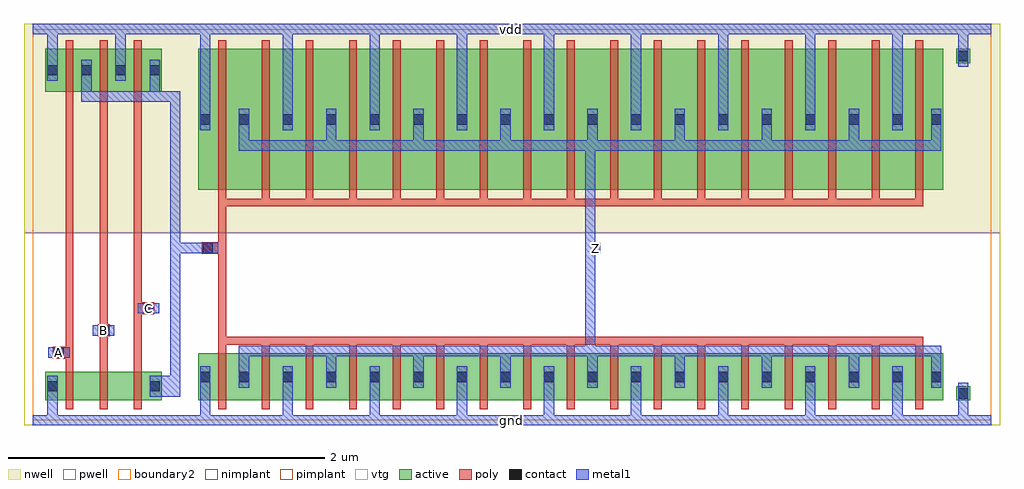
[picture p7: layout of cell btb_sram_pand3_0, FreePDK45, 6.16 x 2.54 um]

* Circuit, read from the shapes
.subckt btb_sram_pand3_0 A B C Z gnd vdd
M1 btb_sram_pnand3_0_0/btb_sram_nmos_m1_w0_180_sm1_dactive_3/D A gnd gnd nfet w=0.18u l=0.05u
M2 btb_sram_pnand3_0_0/btb_sram_nmos_m1_w0_180_sactive_dactive_4/D B btb_sram_pnand3_0_0/btb_sram_nmos_m1_w0_180_sm1_dactive_3/D gnd nfet w=0.18u l=0.05u
M3 btb_sram_pdriver_3_1/A C btb_sram_pnand3_0_0/btb_sram_nmos_m1_w0_180_sactive_dactive_4/D gnd nfet w=0.18u l=0.05u
M4 Z btb_sram_pdriver_3_1/A gnd gnd nfet w=0.2975u l=0.05u m=17
M5 btb_sram_pdriver_3_1/A A vdd vdd pfet w=0.27u l=0.05u
M6 vdd B btb_sram_pdriver_3_1/A vdd pfet w=0.27u l=0.05u
M7 btb_sram_pdriver_3_1/A C vdd vdd pfet w=0.27u l=0.05u
M8 Z btb_sram_pdriver_3_1/A vdd vdd pfet w=0.89u l=0.05u m=17
.ends

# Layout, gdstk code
import gdstk
lib = gdstk.Library(unit=1e-6, precision=5e-10)
def R(c, l, rs):  # rectangles x0, y0, x1, y1
    for r in rs: c.add(gdstk.rectangle(r[:2], r[2:], *l))
def A(c, l, x, y, w, h, nx, ny, dx, dy):  # array of equal rectangles
    R(c, l, [(x+i*dx, y+j*dy, x+i*dx+w, y+j*dy+h) for i in range(nx) for j in range(ny)])
active = (1, 0)
pwell = (2, 0)
nwell = (3, 0)
nimplant = (4, 0)
pimplant = (5, 0)
vtg = (6, 0)
poly = (9, 0)
contact = (10, 0)
metal1 = (11, 0)
boundary2 = (239, 0)

btb_sram_contact_11 = lib.new_cell('btb_sram_contact_11')
R(btb_sram_contact_11, active, [(0,0.0225,0.09,0.1125)])
R(btb_sram_contact_11, nwell, [(-0.055,-0.0325,0.145,0.1675)])
R(btb_sram_contact_11, pimplant, [(0,0.0225,0.09,0.1125)])
R(btb_sram_contact_11, contact, [(0.0125,0.035,0.0775,0.1)])
R(btb_sram_contact_11, metal1, [(0.0125,0,0.0775,0.135)])
R(btb_sram_contact_11, boundary2, [(-0.055,-0.0325,0.145,0.1675)])

btb_sram_pmos_m1_w0_270_ = lib.new_cell('btb_sram_pmos_m1_w0_270_sm1_dm1')
R(btb_sram_pmos_m1_w0_270_, active, [(0,0,0.305,0.27)])
R(btb_sram_pmos_m1_w0_270_, nwell, [(-0.08,-0.08,0.385,0.35)])
R(btb_sram_pmos_m1_w0_270_, pimplant, [(0,0,0.305,0.27)])
R(btb_sram_pmos_m1_w0_270_, vtg, [(-0.08,-0.08,0.385,0.35)])
R(btb_sram_pmos_m1_w0_270_, poly, [(0.1275,-0.055,0.1775,0.325), (0.1275,-0.055,0.1775,0.325)])
R(btb_sram_pmos_m1_w0_270_, metal1, [(0.0125,0.0675,0.0775,0.2025), (0.2275,0.0675,0.2925,0.2025)])
R(btb_sram_pmos_m1_w0_270_, boundary2, [(-0.08,-0.08,0.385,0.35)])
btb_sram_pmos_m1_w0_270_.add(gdstk.Reference(btb_sram_contact_11, (0,0.0675)))
btb_sram_pmos_m1_w0_270_.add(gdstk.Reference(btb_sram_contact_11, (0.215,0.0675)))
btb_sram_pmos_m1_w0_270_.add(gdstk.Label('G', (0.1525,0.135), layer=9, texttype=0))
btb_sram_pmos_m1_w0_270_.add(gdstk.Label('S', (0.045,0.135), layer=11, texttype=0))
btb_sram_pmos_m1_w0_270_.add(gdstk.Label('D', (0.26,0.135), layer=11, texttype=0))

btb_sram_contact_10 = lib.new_cell('btb_sram_contact_10')
R(btb_sram_contact_10, active, [(0,0.0225,0.09,0.1125)])
R(btb_sram_contact_10, pwell, [(-0.055,-0.0325,0.145,0.1675)])
R(btb_sram_contact_10, nimplant, [(0,0.0225,0.09,0.1125)])
R(btb_sram_contact_10, contact, [(0.0125,0.035,0.0775,0.1)])
R(btb_sram_contact_10, metal1, [(0.0125,0,0.0775,0.135)])
R(btb_sram_contact_10, boundary2, [(-0.055,-0.0325,0.145,0.1675)])

btb_sram_nmos_m1_w0_180_ = lib.new_cell('btb_sram_nmos_m1_w0_180_sm1_dactive')
R(btb_sram_nmos_m1_w0_180_, active, [(0,0,0.305,0.18), (0.215,0.045,0.305,0.135)])
R(btb_sram_nmos_m1_w0_180_, pwell, [(-0.08,-0.08,0.385,0.26)])
R(btb_sram_nmos_m1_w0_180_, nimplant, [(0,0,0.305,0.18)])
R(btb_sram_nmos_m1_w0_180_, vtg, [(-0.08,-0.08,0.385,0.26)])
R(btb_sram_nmos_m1_w0_180_, poly, [(0.1275,-0.055,0.1775,0.235), (0.1275,-0.055,0.1775,0.235)])
R(btb_sram_nmos_m1_w0_180_, metal1, [(0.0125,0.0225,0.0775,0.1575)])
R(btb_sram_nmos_m1_w0_180_, boundary2, [(-0.08,-0.08,0.385,0.26)])
btb_sram_nmos_m1_w0_180_.add(gdstk.Reference(btb_sram_contact_10, (0,0.0225)))
btb_sram_nmos_m1_w0_180_.add(gdstk.Label('G', (0.1525,0.09), layer=9, texttype=0))
btb_sram_nmos_m1_w0_180_.add(gdstk.Label('S', (0.045,0.09), layer=11, texttype=0))
btb_sram_nmos_m1_w0_180_.add(gdstk.Label('D', (0.26,0.09), layer=1, texttype=0))

c_btb_sram_nmos_m1_w0_180_ = lib.new_cell('btb_sram_nmos_m1_w0_180_sactive_dactive')
R(c_btb_sram_nmos_m1_w0_180_, active, [(0,0,0.305,0.18), (0,0.045,0.09,0.135), (0.215,0.045,0.305,0.135)])
R(c_btb_sram_nmos_m1_w0_180_, pwell, [(-0.08,-0.08,0.385,0.26)])
R(c_btb_sram_nmos_m1_w0_180_, nimplant, [(0,0,0.305,0.18)])
R(c_btb_sram_nmos_m1_w0_180_, vtg, [(-0.08,-0.08,0.385,0.26)])
R(c_btb_sram_nmos_m1_w0_180_, poly, [(0.1275,-0.055,0.1775,0.235), (0.1275,-0.055,0.1775,0.235)])
R(c_btb_sram_nmos_m1_w0_180_, boundary2, [(-0.08,-0.08,0.385,0.26)])
c_btb_sram_nmos_m1_w0_180_.add(gdstk.Label('G', (0.1525,0.09), layer=9, texttype=0))
c_btb_sram_nmos_m1_w0_180_.add(gdstk.Label('S', (0.045,0.09), layer=1, texttype=0))
c_btb_sram_nmos_m1_w0_180_.add(gdstk.Label('D', (0.26,0.09), layer=1, texttype=0))

c_btb_sram_nmos_m1_w0_180__ = lib.new_cell('btb_sram_nmos_m1_w0_180_sactive_dm1')
R(c_btb_sram_nmos_m1_w0_180__, active, [(0,0,0.305,0.18), (0,0.045,0.09,0.135)])
R(c_btb_sram_nmos_m1_w0_180__, pwell, [(-0.08,-0.08,0.385,0.26)])
R(c_btb_sram_nmos_m1_w0_180__, nimplant, [(0,0,0.305,0.18)])
R(c_btb_sram_nmos_m1_w0_180__, vtg, [(-0.08,-0.08,0.385,0.26)])
R(c_btb_sram_nmos_m1_w0_180__, poly, [(0.1275,-0.055,0.1775,0.235), (0.1275,-0.055,0.1775,0.235)])
R(c_btb_sram_nmos_m1_w0_180__, metal1, [(0.2275,0.0225,0.2925,0.1575)])
R(c_btb_sram_nmos_m1_w0_180__, boundary2, [(-0.08,-0.08,0.385,0.26)])
c_btb_sram_nmos_m1_w0_180__.add(gdstk.Reference(btb_sram_contact_10, (0.215,0.0225)))
c_btb_sram_nmos_m1_w0_180__.add(gdstk.Label('G', (0.1525,0.09), layer=9, texttype=0))
c_btb_sram_nmos_m1_w0_180__.add(gdstk.Label('S', (0.045,0.09), layer=1, texttype=0))
c_btb_sram_nmos_m1_w0_180__.add(gdstk.Label('D', (0.26,0.09), layer=11, texttype=0))

btb_sram_contact_14 = lib.new_cell('btb_sram_contact_14')
R(btb_sram_contact_14, poly, [(0.03,0,0.105,0.075)])
R(btb_sram_contact_14, contact, [(0.035,0.005,0.1,0.07)])
R(btb_sram_contact_14, metal1, [(0,0.005,0.135,0.07)])
R(btb_sram_contact_14, boundary2, [(0,0,0.135,0.075)])

btb_sram_pnand3_0 = lib.new_cell('btb_sram_pnand3_0')
R(btb_sram_pnand3_0, pwell, [(-0.055,-0.0325,1.02,1.185)])
R(btb_sram_pnand3_0, nwell, [(-0.055,1.185,1.02,2.505)])
R(btb_sram_pnand3_0, vtg, [(-0.055,-0.0325,1.02,1.185), (-0.055,1.185,1.02,2.505)])
A(btb_sram_pnand3_0, poly, 0.2075, 0.36, 0.05, 1.66, 3, 1, 0.215, 0)
R(btb_sram_pnand3_0, poly, [(0.165,0.39,0.2075,0.465), (0.4225,0.53,0.4475,0.605), (0.6375,0.67,0.73,0.745)])
R(btb_sram_pnand3_0, metal1, [(0,-0.0325,0.965,0.0325), (0.0925,-0.0325,0.1575,0.1475), (0.77,0.1475,0.9,0.2825), (0.8675,0.1475,0.9325,2.045), (0.0975,0.395,0.2325,0.46), (0.38,0.535,0.515,0.6), (0.6625,0.675,0.7975,0.74), (0.3075,2.0125,0.3725,2.0775), (0.34,2.0125,0.9,2.0775), (0.7375,2.0125,0.8025,2.0775), (0.77,2.0125,0.9,2.0775), (0.8675,2.0125,0.9325,2.0775), (0.3075,2.045,0.3725,2.21), (0.7375,2.045,0.8025,2.21), (0.0925,2.1425,0.1575,2.5025), (0.5225,2.1425,0.5875,2.5025), (0,2.4375,0.965,2.5025)])
R(btb_sram_pnand3_0, boundary2, [(0,0,0.965,2.47), (0,0,0.965,2.47)])
btb_sram_pnand3_0.add(gdstk.Reference(btb_sram_pmos_m1_w0_270_, (0.08,2.075)))
btb_sram_pnand3_0.add(gdstk.Reference(btb_sram_pmos_m1_w0_270_, (0.295,2.075)))
btb_sram_pnand3_0.add(gdstk.Reference(btb_sram_pmos_m1_w0_270_, (0.51,2.075)))
btb_sram_pnand3_0.add(gdstk.Reference(btb_sram_nmos_m1_w0_180_, (0.08,0.125)))
btb_sram_pnand3_0.add(gdstk.Reference(c_btb_sram_nmos_m1_w0_180_, (0.295,0.125)))
btb_sram_pnand3_0.add(gdstk.Reference(c_btb_sram_nmos_m1_w0_180__, (0.51,0.125)))
btb_sram_pnand3_0.add(gdstk.Reference(btb_sram_contact_14, (0.0975,0.39)))
btb_sram_pnand3_0.add(gdstk.Reference(btb_sram_contact_14, (0.38,0.53)))
btb_sram_pnand3_0.add(gdstk.Reference(btb_sram_contact_14, (0.6625,0.67)))
btb_sram_pnand3_0.add(gdstk.Label('A', (0.165,0.4275), layer=11, texttype=0))
btb_sram_pnand3_0.add(gdstk.Label('B', (0.4475,0.5675), layer=11, texttype=0))
btb_sram_pnand3_0.add(gdstk.Label('C', (0.73,0.7075), layer=11, texttype=0))
btb_sram_pnand3_0.add(gdstk.Label('Z', (0.9,2.045), layer=11, texttype=0))
btb_sram_pnand3_0.add(gdstk.Label('gnd', (0.4825,0), layer=11, texttype=0))
btb_sram_pnand3_0.add(gdstk.Label('vdd', (0.4825,2.47), layer=11, texttype=0))

btb_sram_pmos_m17_w0_890 = lib.new_cell('btb_sram_pmos_m17_w0_890_sm1_dm1_da_p')
R(btb_sram_pmos_m17_w0_890, active, [(0,0,4.705,0.89)])
R(btb_sram_pmos_m17_w0_890, nwell, [(-0.08,-0.08,4.785,0.97)])
R(btb_sram_pmos_m17_w0_890, pimplant, [(0,0,4.705,0.89)])
R(btb_sram_pmos_m17_w0_890, vtg, [(-0.08,-0.08,4.785,0.97)])
A(btb_sram_pmos_m17_w0_890, poly, 0.1275, -0.055, 0.05, 1, 17, 1, 0.275, 0)
R(btb_sram_pmos_m17_w0_890, poly, [(0.1275,-0.105,4.5775,-0.055)])
A(btb_sram_pmos_m17_w0_890, metal1, 0.2575, 0.28, 0.065, 0.165, 8, 1, 0.55, 0)
A(btb_sram_pmos_m17_w0_890, metal1, 0.5325, 0.3775, 0.065, 0.135, 8, 1, 0.55, 0)
R(btb_sram_pmos_m17_w0_890, metal1, [(0.2575,0.2475,4.6925,0.3125), (4.6275,0.28,4.6925,0.445), (0.0125,0.3775,0.0775,0.5125)])
R(btb_sram_pmos_m17_w0_890, boundary2, [(-0.08,-0.105,4.785,0.97)])
btb_sram_pmos_m17_w0_890.add(gdstk.Reference(btb_sram_contact_11, (0,0.3775)))
btb_sram_pmos_m17_w0_890.add(gdstk.Reference(btb_sram_contact_11, (0.245,0.3775)))
btb_sram_pmos_m17_w0_890.add(gdstk.Reference(btb_sram_contact_11, (0.52,0.3775)))
btb_sram_pmos_m17_w0_890.add(gdstk.Reference(btb_sram_contact_11, (0.795,0.3775)))
btb_sram_pmos_m17_w0_890.add(gdstk.Reference(btb_sram_contact_11, (1.07,0.3775)))
btb_sram_pmos_m17_w0_890.add(gdstk.Reference(btb_sram_contact_11, (1.345,0.3775)))
btb_sram_pmos_m17_w0_890.add(gdstk.Reference(btb_sram_contact_11, (1.62,0.3775)))
btb_sram_pmos_m17_w0_890.add(gdstk.Reference(btb_sram_contact_11, (1.895,0.3775)))
btb_sram_pmos_m17_w0_890.add(gdstk.Reference(btb_sram_contact_11, (2.17,0.3775)))
btb_sram_pmos_m17_w0_890.add(gdstk.Reference(btb_sram_contact_11, (2.445,0.3775)))
btb_sram_pmos_m17_w0_890.add(gdstk.Reference(btb_sram_contact_11, (2.72,0.3775)))
btb_sram_pmos_m17_w0_890.add(gdstk.Reference(btb_sram_contact_11, (2.995,0.3775)))
btb_sram_pmos_m17_w0_890.add(gdstk.Reference(btb_sram_contact_11, (3.27,0.3775)))
btb_sram_pmos_m17_w0_890.add(gdstk.Reference(btb_sram_contact_11, (3.545,0.3775)))
btb_sram_pmos_m17_w0_890.add(gdstk.Reference(btb_sram_contact_11, (3.82,0.3775)))
btb_sram_pmos_m17_w0_890.add(gdstk.Reference(btb_sram_contact_11, (4.095,0.3775)))
btb_sram_pmos_m17_w0_890.add(gdstk.Reference(btb_sram_contact_11, (4.37,0.3775)))
btb_sram_pmos_m17_w0_890.add(gdstk.Reference(btb_sram_contact_11, (4.615,0.3775)))
btb_sram_pmos_m17_w0_890.add(gdstk.Label('G', (2.3525,-0.08), layer=9, texttype=0))
btb_sram_pmos_m17_w0_890.add(gdstk.Label('S', (0.045,0.445), layer=11, texttype=0))
btb_sram_pmos_m17_w0_890.add(gdstk.Label('S', (2.765,0.445), layer=11, texttype=0))
btb_sram_pmos_m17_w0_890.add(gdstk.Label('S', (1.665,0.445), layer=11, texttype=0))
btb_sram_pmos_m17_w0_890.add(gdstk.Label('S', (3.315,0.445), layer=11, texttype=0))
btb_sram_pmos_m17_w0_890.add(gdstk.Label('S', (1.115,0.445), layer=11, texttype=0))
btb_sram_pmos_m17_w0_890.add(gdstk.Label('S', (3.865,0.445), layer=11, texttype=0))
btb_sram_pmos_m17_w0_890.add(gdstk.Label('S', (0.565,0.445), layer=11, texttype=0))
btb_sram_pmos_m17_w0_890.add(gdstk.Label('S', (4.415,0.445), layer=11, texttype=0))
btb_sram_pmos_m17_w0_890.add(gdstk.Label('S', (2.215,0.445), layer=11, texttype=0))
btb_sram_pmos_m17_w0_890.add(gdstk.Label('D', (2.475,0.28), layer=11, texttype=0))

btb_sram_nmos_m17_w0_297 = lib.new_cell('btb_sram_nmos_m17_w0_297_sm1_dm1_da_p')
R(btb_sram_nmos_m17_w0_297, active, [(0,0,4.705,0.2975)])
R(btb_sram_nmos_m17_w0_297, pwell, [(-0.08,-0.08,4.785,0.3775)])
R(btb_sram_nmos_m17_w0_297, nimplant, [(0,0,4.705,0.2975)])
R(btb_sram_nmos_m17_w0_297, vtg, [(-0.08,-0.08,4.785,0.3775)])
A(btb_sram_nmos_m17_w0_297, poly, 0.1275, -0.055, 0.05, 0.4075, 17, 1, 0.275, 0)
R(btb_sram_nmos_m17_w0_297, poly, [(0.1275,0.3525,4.5775,0.4025)])
A(btb_sram_nmos_m17_w0_297, metal1, 0.5325, 0.08, 0.065, 0.135, 8, 1, 0.55, 0)
A(btb_sram_nmos_m17_w0_297, metal1, 0.2575, 0.15, 0.065, 0.165, 8, 1, 0.55, 0)
R(btb_sram_nmos_m17_w0_297, metal1, [(0.0125,0.08,0.0775,0.215), (4.6275,0.15,4.6925,0.315), (0.2575,0.28,4.6925,0.345)])
R(btb_sram_nmos_m17_w0_297, boundary2, [(-0.08,-0.08,4.785,0.4025)])
btb_sram_nmos_m17_w0_297.add(gdstk.Reference(btb_sram_contact_10, (0,0.08)))
btb_sram_nmos_m17_w0_297.add(gdstk.Reference(btb_sram_contact_10, (0.245,0.08)))
btb_sram_nmos_m17_w0_297.add(gdstk.Reference(btb_sram_contact_10, (0.52,0.08)))
btb_sram_nmos_m17_w0_297.add(gdstk.Reference(btb_sram_contact_10, (0.795,0.08)))
btb_sram_nmos_m17_w0_297.add(gdstk.Reference(btb_sram_contact_10, (1.07,0.08)))
btb_sram_nmos_m17_w0_297.add(gdstk.Reference(btb_sram_contact_10, (1.345,0.08)))
btb_sram_nmos_m17_w0_297.add(gdstk.Reference(btb_sram_contact_10, (1.62,0.08)))
btb_sram_nmos_m17_w0_297.add(gdstk.Reference(btb_sram_contact_10, (1.895,0.08)))
btb_sram_nmos_m17_w0_297.add(gdstk.Reference(btb_sram_contact_10, (2.17,0.08)))
btb_sram_nmos_m17_w0_297.add(gdstk.Reference(btb_sram_contact_10, (2.445,0.08)))
btb_sram_nmos_m17_w0_297.add(gdstk.Reference(btb_sram_contact_10, (2.72,0.08)))
btb_sram_nmos_m17_w0_297.add(gdstk.Reference(btb_sram_contact_10, (2.995,0.08)))
btb_sram_nmos_m17_w0_297.add(gdstk.Reference(btb_sram_contact_10, (3.27,0.08)))
btb_sram_nmos_m17_w0_297.add(gdstk.Reference(btb_sram_contact_10, (3.545,0.08)))
btb_sram_nmos_m17_w0_297.add(gdstk.Reference(btb_sram_contact_10, (3.82,0.08)))
btb_sram_nmos_m17_w0_297.add(gdstk.Reference(btb_sram_contact_10, (4.095,0.08)))
btb_sram_nmos_m17_w0_297.add(gdstk.Reference(btb_sram_contact_10, (4.37,0.08)))
btb_sram_nmos_m17_w0_297.add(gdstk.Reference(btb_sram_contact_10, (4.615,0.08)))
btb_sram_nmos_m17_w0_297.add(gdstk.Label('G', (2.3525,0.3775), layer=9, texttype=0))
btb_sram_nmos_m17_w0_297.add(gdstk.Label('S', (2.215,0.1475), layer=11, texttype=0))
btb_sram_nmos_m17_w0_297.add(gdstk.Label('S', (3.865,0.1475), layer=11, texttype=0))
btb_sram_nmos_m17_w0_297.add(gdstk.Label('S', (0.045,0.1475), layer=11, texttype=0))
btb_sram_nmos_m17_w0_297.add(gdstk.Label('S', (4.415,0.1475), layer=11, texttype=0))
btb_sram_nmos_m17_w0_297.add(gdstk.Label('S', (1.665,0.1475), layer=11, texttype=0))
btb_sram_nmos_m17_w0_297.add(gdstk.Label('S', (2.765,0.1475), layer=11, texttype=0))
btb_sram_nmos_m17_w0_297.add(gdstk.Label('S', (1.115,0.1475), layer=11, texttype=0))
btb_sram_nmos_m17_w0_297.add(gdstk.Label('S', (0.565,0.1475), layer=11, texttype=0))
btb_sram_nmos_m17_w0_297.add(gdstk.Label('S', (3.315,0.1475), layer=11, texttype=0))
btb_sram_nmos_m17_w0_297.add(gdstk.Label('D', (2.475,0.3125), layer=11, texttype=0))

btb_sram_contact_12 = lib.new_cell('btb_sram_contact_12')
R(btb_sram_contact_12, active, [(0,0.0225,0.09,0.1125)])
R(btb_sram_contact_12, nwell, [(-0.055,-0.0325,0.145,0.1675)])
R(btb_sram_contact_12, nimplant, [(0,0.0225,0.09,0.1125)])
R(btb_sram_contact_12, contact, [(0.0125,0.035,0.0775,0.1)])
R(btb_sram_contact_12, metal1, [(0.0125,0,0.0775,0.135)])
R(btb_sram_contact_12, boundary2, [(-0.055,-0.0325,0.145,0.1675)])

btb_sram_contact_13 = lib.new_cell('btb_sram_contact_13')
R(btb_sram_contact_13, active, [(0,0.0225,0.09,0.1125)])
R(btb_sram_contact_13, pwell, [(-0.055,-0.0325,0.145,0.1675)])
R(btb_sram_contact_13, pimplant, [(0,0.0225,0.09,0.1125)])
R(btb_sram_contact_13, contact, [(0.0125,0.035,0.0775,0.1)])
R(btb_sram_contact_13, metal1, [(0.0125,0,0.0775,0.135)])
R(btb_sram_contact_13, boundary2, [(-0.055,-0.0325,0.145,0.1675)])

btb_sram_pinv_12 = lib.new_cell('btb_sram_pinv_12')
R(btb_sram_pinv_12, pwell, [(-0.055,-0.0325,5.1425,1.185)])
R(btb_sram_pinv_12, nwell, [(-0.055,1.185,5.1425,2.505)])
R(btb_sram_pinv_12, vtg, [(-0.055,-0.0325,5.1425,1.185), (-0.055,1.185,5.1425,2.505)])
R(btb_sram_pinv_12, poly, [(0.2075,0.5275,0.2575,1.35), (0.14,1.05,0.2075,1.125)])
A(btb_sram_pinv_12, metal1, 0.6125, -0.0325, 0.065, 0.2375, 8, 1, 0.55, 0)
A(btb_sram_pinv_12, metal1, 0.6125, 1.8325, 0.065, 0.67, 8, 1, 0.55, 0)
R(btb_sram_pinv_12, metal1, [(0,-0.0325,5.0875,0.0325), (0.0925,-0.0325,0.1575,0.205), (4.8775,0,4.9425,0.17), (2.5225,0.405,2.5875,1.7675), (0.0725,1.055,0.2075,1.12), (2.555,1.055,2.62,1.12), (0.0925,1.8325,0.1575,2.5025), (4.8775,2.3,4.9425,2.47), (0,2.4375,5.0875,2.5025)])
R(btb_sram_pinv_12, boundary2, [(0,0,5.0875,2.47), (0,0,5.0875,2.47)])
btb_sram_pinv_12.add(gdstk.Reference(btb_sram_pmos_m17_w0_890, (0.08,1.455)))
btb_sram_pinv_12.add(gdstk.Reference(btb_sram_nmos_m17_w0_297, (0.08,0.125)))
btb_sram_pinv_12.add(gdstk.Reference(btb_sram_contact_12, (4.865,2.2325)))
btb_sram_pinv_12.add(gdstk.Reference(btb_sram_contact_13, (4.865,0.1025)))
btb_sram_pinv_12.add(gdstk.Reference(btb_sram_contact_14, (0.0725,1.05)))
btb_sram_pinv_12.add(gdstk.Label('A', (0.14,1.0875), layer=11, texttype=0))
btb_sram_pinv_12.add(gdstk.Label('Z', (2.5875,1.0875), layer=11, texttype=0))
btb_sram_pinv_12.add(gdstk.Label('gnd', (2.544,0), layer=11, texttype=0))
btb_sram_pinv_12.add(gdstk.Label('vdd', (2.544,2.47), layer=11, texttype=0))

btb_sram_pdriver_3 = lib.new_cell('btb_sram_pdriver_3')
R(btb_sram_pdriver_3, pwell, [(-0.055,-0.0325,5.1425,1.185)])
R(btb_sram_pdriver_3, nwell, [(-0.055,1.185,5.1425,2.505)])
R(btb_sram_pdriver_3, vtg, [(-0.055,-0.0325,5.1425,1.185), (-0.055,1.185,5.1425,2.505)])
R(btb_sram_pdriver_3, metal1, [(0,-0.0325,5.0875,0.0325), (0.0725,1.055,0.2075,1.12), (2.555,1.055,2.62,1.12), (0,2.4375,5.0875,2.5025)])
R(btb_sram_pdriver_3, boundary2, [(0,0,5.0875,2.47), (0,0,5.0875,2.47)])
btb_sram_pdriver_3.add(gdstk.Reference(btb_sram_pinv_12, (0,0)))
btb_sram_pdriver_3.add(gdstk.Label('Z', (2.5875,1.0875), layer=11, texttype=0))
btb_sram_pdriver_3.add(gdstk.Label('A', (0.14,1.0875), layer=11, texttype=0))
btb_sram_pdriver_3.add(gdstk.Label('gnd', (2.544,0), layer=11, texttype=0))
btb_sram_pdriver_3.add(gdstk.Label('vdd', (2.544,2.47), layer=11, texttype=0))

btb_sram_pand3_0 = lib.new_cell('btb_sram_pand3_0')
R(btb_sram_pand3_0, metal1, [(0,-0.0325,6.0525,0.0325), (0.0975,0.395,0.2325,0.46), (0.38,0.535,0.515,0.6), (0.6625,0.675,0.7975,0.74), (0.8675,1.055,0.9325,1.12), (0.9,1.055,1.105,1.12), (3.52,1.055,3.585,1.12), (0.8675,1.0875,0.9325,2.045), (0,2.4375,6.0525,2.5025)])
R(btb_sram_pand3_0, boundary2, [(0,0,6.0525,2.47), (0,0,6.0525,2.47)])
btb_sram_pand3_0.add(gdstk.Reference(btb_sram_pnand3_0, (0,0)))
btb_sram_pand3_0.add(gdstk.Reference(btb_sram_pdriver_3, (0.965,0)))
btb_sram_pand3_0.add(gdstk.Label('Z', (3.5525,1.0875), layer=11, texttype=0))
btb_sram_pand3_0.add(gdstk.Label('A', (0.165,0.4275), layer=11, texttype=0))
btb_sram_pand3_0.add(gdstk.Label('B', (0.4475,0.5675), layer=11, texttype=0))
btb_sram_pand3_0.add(gdstk.Label('C', (0.73,0.7075), layer=11, texttype=0))
btb_sram_pand3_0.add(gdstk.Label('gnd', (3.026,0), layer=11, texttype=0))
btb_sram_pand3_0.add(gdstk.Label('vdd', (3.026,2.47), layer=11, texttype=0))

lib.write_gds('btb_sram_pand3_0.gds')
